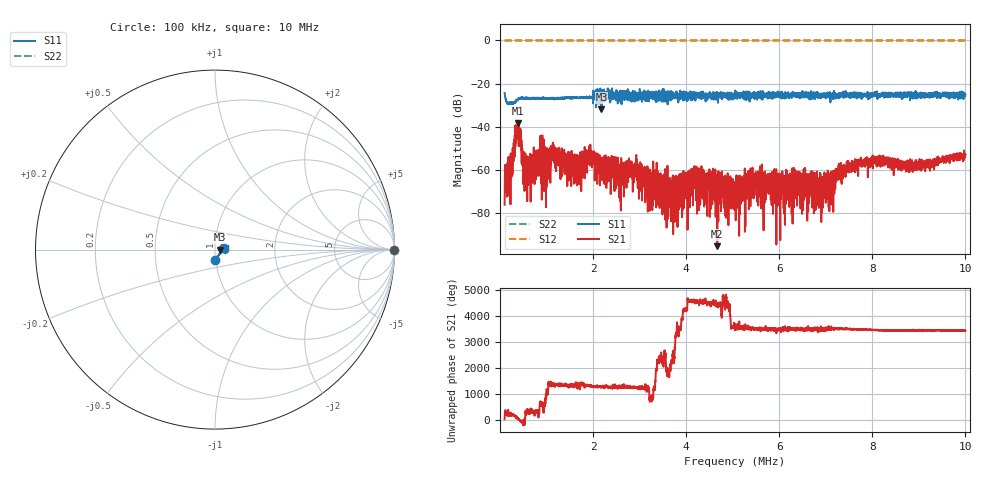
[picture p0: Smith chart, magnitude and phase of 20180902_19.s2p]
! Anritsu VNA Master:  Model: MS2026C/19
! SN:  1815009
! /card0/usr/20180902_19.s2p
! Existing Calibration Information:
! TYPE:  Current Settings,  Active Cal Settings
! TIME:  09/02/2018 12:55:30 PM,  09/02/2018 11:58:48 AM
! INTERNAL TEMP:  54.0 C,  48.8 C
! # POINTS:  4001,  4001
! START FREQ:  100.000 kHz,  100.000 kHz
! STOP FREQ:  10.000 MHz,  10.000 MHz
! SOURCE POWER:  Low,  Low
! IFBW:  500 Hz,  500 Hz
! AVG FACTOR:  1 ,  1
! REF PLANE 1:  0 mm,  0 mm
! REF PLANE 2:  0 mm,  0 mm
! CAL TYPE:  1P2P S11,S21,  1P2P S11,S21
! CAL METHOD:  SOLT,  SOLT
! CAL LINE TYPE:  Coax,  Coax
! DUT PORT 1:  N-Conn(M),  N-Conn(M)
! DUT PORT 2:  N-Conn(M),  N-Conn(M)
! CAL STATUS:  ?T: Accuracy moderate (|Temp diff| > 5.0 C),  --
# GHZ S RI R 50.0
! FREQ.GHZ  S11RE  S11IM  S21RE  S21IM  S12RE  S12IM  S22RE  S22IM
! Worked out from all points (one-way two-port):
!   4001 points, 100 kHz to 10 MHz, reference 50 ohm
!   highest |S21| = -38.41 dB at 387.1 kHz (marker M1); lowest = -95.1 dB at 4.669 MHz (marker M2)
!   lowest |S11| = -31.9 dB at 2.181 MHz (marker M3), VSWR 1.05, Z = 52.6 + j0.016 ohm
!   |S11| at or under -10 dB: start of sweep to end of sweep
!   |S22| runs from 0.0 to 0.0 dB; largest |S21 - S12| = 1
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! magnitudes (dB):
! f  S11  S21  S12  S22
! 100 kHz  -24.4  -76.0  0.0  0.0
! 387.1 kHz  -27.4  -38.4  0.0  0.0
! 515.8 kHz  -26.6  -51.6  0.0  0.0
! 577.7 kHz  -26.5  -55.3  0.0  0.0
! 1.152 MHz  -27.0  -53.7  0.0  0.0
! 1.751 MHz  -26.3  -54.1  0.0  0.0
! 1.907 MHz  -26.6  -53.3  0.0  0.0
! 2.181 MHz  -31.9  -56.1  0.0  0.0
! 2.627 MHz  -25.3  -59.9  0.0  0.0
! 2.934 MHz  -25.1  -59.2  0.0  0.0
! 3.223 MHz  -23.8  -59.7  0.0  0.0
! 3.402 MHz  -27.9  -62.6  0.0  0.0
! 3.718 MHz  -25.6  -62.4  0.0  0.0
! 4.161 MHz  -24.7  -63.7  0.0  0.0
! 4.669 MHz  -26.3  -95.1  0.0  0.0
! 5.05 MHz  -25.2  -65.9  0.0  0.0
! 5.545 MHz  -23.8  -65.4  0.0  0.0
! 6.701 MHz  -25.4  -63.5  0.0  0.0
! 7.112 MHz  -25.1  -64.8  0.0  0.0
! 7.748 MHz  -25.1  -57.0  0.0  0.0
! 8.352 MHz  -24.1  -55.6  0.0  0.0
! 10 MHz  -24.9  -52.7  0.0  0.0
